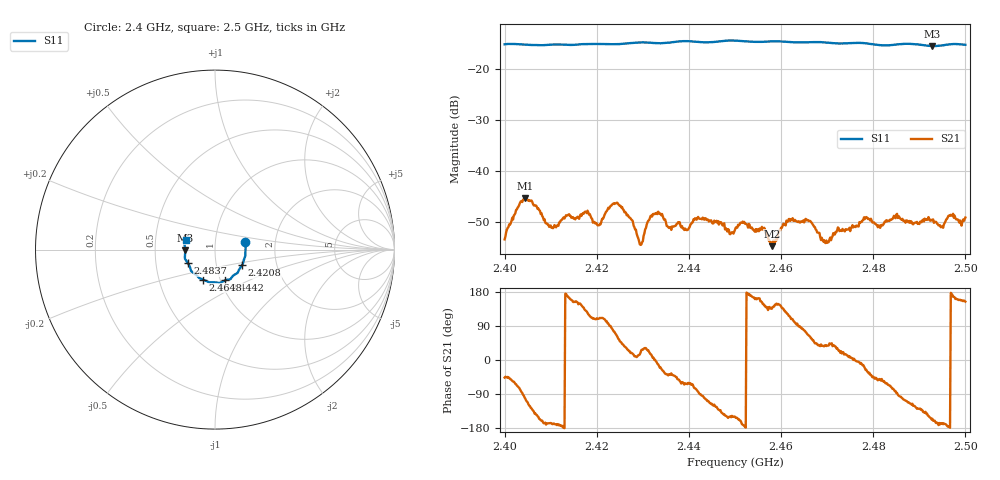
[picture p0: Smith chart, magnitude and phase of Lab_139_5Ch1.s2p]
# Hz S RI R 50
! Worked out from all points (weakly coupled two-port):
!   601 points, 2.4 GHz to 2.5 GHz, reference 50 ohm
!   highest |S21| = -45.32 dB at 2.4045 GHz (marker M1); lowest = -54.7 dB at 2.458 GHz (marker M2)
!   lowest |S11| = -15.6 dB at 2.4928 GHz (marker M3), VSWR 1.40, Z = 35.8 - j0.363 ohm
!   |S11| at or under -10 dB: start of sweep to end of sweep
!   S12 and S22 are empty: the file has one direction only
!   S11 on the Smith chart (normalised r, x): 2.4 GHz: 1.40, +0.12; 2.4208 GHz: 1.33, -0.24; 2.4442 GHz: 1.05, -0.37; 2.4648 GHz: 0.83, -0.29; 2.4837 GHz: 0.73, -0.11; 2.5 GHz: 0.72, +0.08
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2.4e9  0.1678 0.0411  0.00148 -0.00155  0 0  0 0
2.4045e9  0.1705 0.0133  -0.00114 -0.0053  0 0  0 0
2.410167e9  0.1691 -0.0288  -0.00271 -0.000628  0 0  0 0
2.416667e9  0.1589 -0.0681  -0.00296 0.0021  0 0  0 0
2.420833e9  0.1507 -0.0872  -0.00106 0.00282  0 0  0 0
2.424667e9  0.1373 -0.1061  0.00265 0.00391  0 0  0 0
2.4295e9  0.1259 -0.1289  0.00178 0.000631  0 0  0 0
2.433333e9  0.1079 -0.1402  0.00392 -0.000798  0 0  0 0
2.435667e9  0.0959 -0.1515  0.00219 -0.0017  0 0  0 0
2.444167e9  0.0567 -0.1714  -0.00104 -0.00317  0 0  0 0
2.45e9  0.0245 -0.1863  -0.0023 -0.00134  0 0  0 0
2.456e9  -0.0141 -0.182  -0.0023 0.00143  0 0  0 0
2.458e9  -0.0255 -0.1826  -0.00131 0.00129  0 0  0 0
2.461667e9  -0.0448 -0.1763  -0.00151 0.00304  0 0  0 0
2.464833e9  -0.0683 -0.1668  0.000554 0.00324  0 0  0 0
2.466667e9  -0.08 -0.1627  0.00173 0.00258  0 0  0 0
2.469833e9  -0.0927 -0.1542  0.00167 0.00125  0 0  0 0
2.478167e9  -0.1351 -0.1146  0.00316 -0.00121  0 0  0 0
2.483333e9  -0.1506 -0.0762  0.00133 -0.00296  0 0  0 0
2.483667e9  -0.1523 -0.0734  0.00126 -0.00309  0 0  0 0
2.492833e9  -0.1659 -0.00493  -0.00302 -0.0014  0 0  0 0
2.5e9  -0.1625 0.0527  -0.00315 0.00153  0 0  0 0
